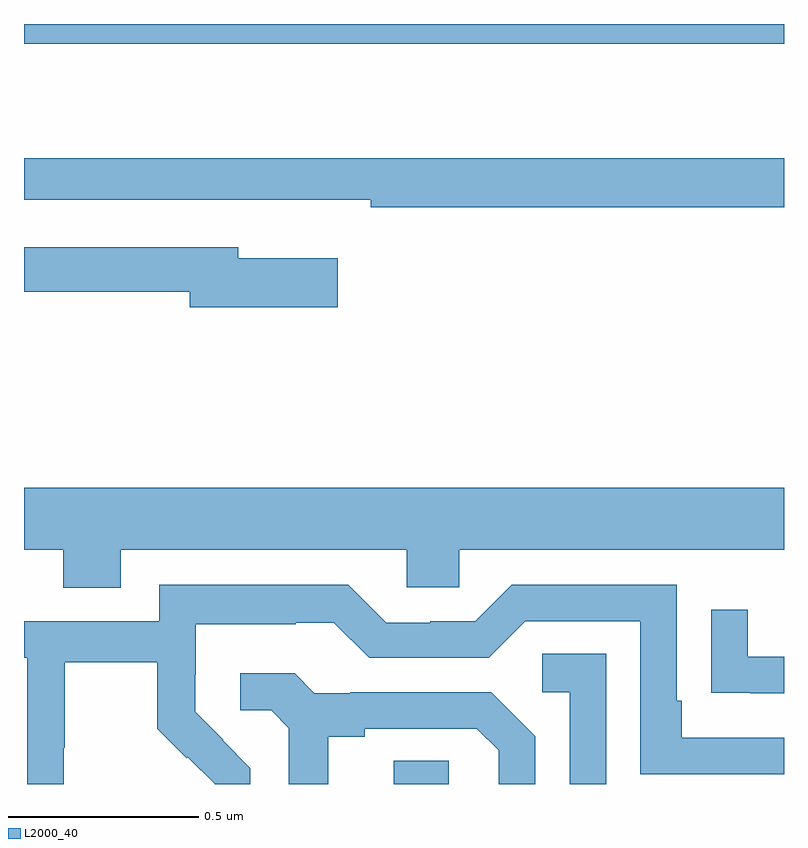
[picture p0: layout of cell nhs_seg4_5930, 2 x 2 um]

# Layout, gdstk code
import gdstk
lib = gdstk.Library(unit=1e-6, precision=1e-09)
def R(c, l, rs):  # rectangles x0, y0, x1, y1
    for r in rs: c.add(gdstk.rectangle(r[:2], r[2:], *l))
def P(c, l, *ps):  # polygons
    for p in ps: c.add(gdstk.Polygon(p, *l))
L2000_40 = (2000, 40)

nhs_seg4_5930 = lib.new_cell('nhs_seg4_5930')
R(nhs_seg4_5930, L2000_40, [(184.973,766.9,185.118,766.961), (184,768.848,186,768.9)])
P(nhs_seg4_5930, L2000_40, [(186,768.547),(184,768.547),(184,768.438),(184.66,768.438),(184.66,768.437),(184.912,768.437),(184.912,768.418),(186,768.418)],
  [(184.825,768.283),(184.564,768.283),(184.564,768.312),(184,768.312),(184,768.196),(184.436,768.196),(184.436,768.154),(184.825,768.154)],
  [(184.255,767.516),(185.007,767.516),(185.007,767.418),(185.145,767.418),(185.145,767.516),(186,767.516),(186,767.68),(184,767.68),(184,767.516),(184.103,767.516),(184.103,767.417),(184.255,767.417)],
  [(184.104,766.996),(184.107,766.996),(184.107,767.22),(184.351,767.22),(184.351,767.045),(184.428,766.968),(184.431,766.971),(184.502,766.901),(184.502,766.9),(184.596,766.9),(184.596,766.942),(184.523,767.015),(184.524,767.016),(184.45,767.09),(184.45,767.187),(184.452,767.187),(184.452,767.321),(184.715,767.321),(184.715,767.325),(184.815,767.325),(184.908,767.232),(185.223,767.232),(185.319,767.328),(185.622,767.328),(185.622,766.926),(186,766.926),(186,767.022),(185.731,767.022),(185.731,767.119),(185.718,767.119),(185.718,767.424),(185.283,767.424),(185.187,767.328),(185.069,767.328),(185.069,767.325),(184.953,767.325),(184.853,767.425),(184.356,767.425),(184.356,767.328),(184,767.328),(184,767.232),(184.008,767.232),(184.008,766.9),(184.104,766.9)],
  [(186,767.235),(185.905,767.235),(185.905,767.359),(185.809,767.359),(185.809,767.14),(185.911,767.14),(185.911,767.139),(186,767.139)],
  [(185.532,767.243),(185.364,767.243),(185.364,767.142),(185.436,767.142),(185.436,766.9),(185.532,766.9)],
  [(184.801,767.024),(184.897,767.024),(184.897,767.046),(185.192,767.046),(185.249,766.989),(185.249,766.9),(185.346,766.9),(185.346,767.026),(185.23,767.142),(184.858,767.142),(184.858,767.139),(184.764,767.139),(184.712,767.191),(184.569,767.191),(184.569,767.094),(184.65,767.094),(184.697,767.047),(184.697,766.9),(184.801,766.9)])

lib.write_gds('nhs_seg4_5930.gds')
